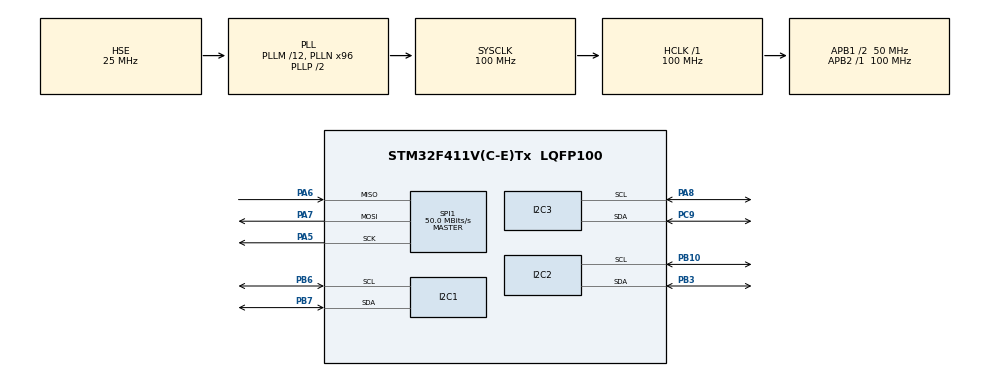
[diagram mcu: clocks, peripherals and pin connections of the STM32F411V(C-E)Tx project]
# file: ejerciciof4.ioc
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Mcu.Family=STM32F4
Mcu.Name=STM32F411V(C-E)Tx
Mcu.Package=LQFP100
NVIC.PriorityGroup=NVIC_PRIORITYGROUP_4
PA13.Mode=Serial_Wire
PA13.Signal=SYS_JTMS-SWDIO
PA14.Mode=Serial_Wire
PA14.Signal=SYS_JTCK-SWCLK
PA5.Mode=Full_Duplex_Master
PA5.Signal=SPI1_SCK
PA6.Mode=Full_Duplex_Master
PA6.Signal=SPI1_MISO
PA7.Mode=Full_Duplex_Master
PA7.Signal=SPI1_MOSI
PA8.Mode=I2C
PA8.Signal=I2C3_SCL
PB10.Mode=I2C
PB10.Signal=I2C2_SCL
PB3.Mode=I2C
PB3.Signal=I2C2_SDA
PB6.Mode=I2C
PB6.Signal=I2C1_SCL
PB7.Mode=I2C
PB7.Signal=I2C1_SDA
PC9.Mode=I2C
PC9.Signal=I2C3_SDA
PH0\ -\ OSC_IN.Mode=HSE-External-Oscillator
PH0\ -\ OSC_IN.Signal=RCC_OSC_IN
PH1\ -\ OSC_OUT.Mode=HSE-External-Oscillator
PH1\ -\ OSC_OUT.Signal=RCC_OSC_OUT
ProjectManager.HeapSize=0x200
ProjectManager.StackSize=0x400
ProjectManager.TargetToolchain=EWARM V8.50
RCC.48MHZClocksFreq_Value=50000000
RCC.AHBFreq_Value=100000000
RCC.APB1CLKDivider=RCC_HCLK_DIV2
RCC.APB1Freq_Value=50000000
RCC.APB1TimFreq_Value=100000000
RCC.APB2Freq_Value=100000000
RCC.APB2TimFreq_Value=100000000
RCC.CortexFreq_Value=100000000
RCC.HCLKFreq_Value=100000000
RCC.HSE_VALUE=25000000
RCC.HSI_VALUE=16000000
RCC.LSE_VALUE=32768
RCC.PLLM=12
RCC.PLLN=96
RCC.PLLSourceVirtual=RCC_PLLSOURCE_HSE
RCC.SYSCLKFreq_VALUE=100000000
RCC.SYSCLKSource=RCC_SYSCLKSOURCE_PLLCLK
RCC.VCOOutputFreq_Value=200000000
SPI1.BaudRatePrescaler=SPI_BAUDRATEPRESCALER_2
SPI1.CalculateBaudRate=50.0 MBits/s
SPI1.Direction=SPI_DIRECTION_2LINES
SPI1.Mode=SPI_MODE_MASTER
SPI1.VirtualType=VM_MASTER
board=custom

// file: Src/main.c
/* USER CODE BEGIN Header */
/**
  ******************************************************************************
  * @file           : main.c
  * @brief          : Main program body
  ******************************************************************************
  * @attention
  *
  * Copyright (c) 2026 STMicroelectronics.
  * All rights reserved.
  *
  * This software is licensed under terms that can be found in the LICENSE file
  * in the root directory of this software component.
  * If no LICENSE file comes with this software, it is provided AS-IS.
  *
  ******************************************************************************
  */
/* USER CODE END Header */
#include "main.h"
#include "string.h"

/* USER CODE BEGIN Includes */
#include "bmp3.h"
#include "math.h"
#include "h3lis331dl_reg.h"
#include "stm32f4xx_hal.h"
#include "lwgps.h"
#include "ism330bx_reg.h"
#include "ekfprototipo2.h"
/* USER CODE END Includes */

/* USER CODE BEGIN PTD */
extern I2C_HandleTypeDef hi2c1; //barómetro y giroscpio/IMU
extern I2C_HandleTypeDef hi2c2; //acelerómetro
extern I2C_HandleTypeDef hi2c3; //gps

/* USER CODE END PTD */

/* USER CODE BEGIN PD */
#define BMP390_I2C_ADDR (0x76 << 1)
#define H3LIS331DL_I2C_ADD (0x18 << 1)
#define RAD_TO_DEG (180.0f / 3.14159265358979323846f)
#define TESEO_I2C_ADDR      (0x3A << 1) // Dirección I2C shifted
#define RX_BUFFER_SIZE      256
#define ISM330BX_I2C_ADD ISM330BX_I2C_ADD_H
#define ALPHA 0.98f
/* USER CODE END PD */

I2C_HandleTypeDef hi2c1;
I2C_HandleTypeDef hi2c2;
I2C_HandleTypeDef hi2c3;

SPI_HandleTypeDef hspi1;

/* USER CODE BEGIN PV */
uint32_t current_time = 0;
uint32_t last_time_process = 0;

/*Barómetro*/
uint32_t intervalo_bar = 500;
uint32_t last_time_bar = 0;
struct bmp3_dev dev;
struct bmp3_data data = { 0 };
struct bmp3_settings settings = { 0 };
uint16_t settings_sel;
uint8_t dev_addr = (BMP3_ADDR_I2C_PRIM << 1);
float presion_hpa = 0.0f;
float temperatura_c = 0.0f;

/*Acelerómetro*/
uint32_t intervalo_accel = 10;
uint32_t last_time_accel = 0;
float accel_g[3];
float altitud_m = 0.0f;
float a_total = 0.0f;

/*Sensor gnss*/
uint32_t intervalo_gps = 100;
uint32_t last_time_gps = 0;
uint8_t rx_buffer[RX_BUFFER_SIZE];
uint8_t gps_rx_buffer[128];
lwgps_t hgps;
float longitud;
float latitud;
float altitud;

/*Giroscopio*/
uint32_t intervalo_imu = 10;
uint32_t last_time_imu = 0;

stmdev_ctx_t dev_ctx;
int16_t data_raw_angular_rate[3];
float angular_rate_mdps[3];
uint8_t whoamI;

//De cara al ekf
struct RawSensorData raw_sensor_data = {0};
AltitudeEstimate_t altitude_estimate = {0.0f, 0.0f};
uint8_t barometer_ready = 0;
uint8_t barometer_updated = 0;
uint8_t accelerometer_ready = 0;
uint8_t altitude_ekf_initialized = 0;

/*Resumen de datos:
GPS: longitud, latitud, altitud.
Barómetro: altitud_m.
Acelerómetro: accel_g[3], a_total.
Giroscopio: inc.pitch, inc.roll e inc.yaw.
El yaw es relativo y deriva sin una referencia magnética.

*/

/* USER CODE END PV */

void SystemClock_Config(void);
static void MX_GPIO_Init(void);
static void MX_I2C1_Init(void);
static void MX_I2C2_Init(void);
static void MX_I2C3_Init(void);
static void MX_SPI1_Init(void);

HAL_StatusTypeDef TeseoV_Read_I2C(uint8_t *pData, uint16_t Size) {
    // Transmisión/recepción del flujo continuo NMEA desde el búfer del Teseo V
    return HAL_I2C_Master_Receive(&hi2c3, TESEO_I2C_ADDR, pData, Size, 100);
}

// Función para calcular la altitud en metros
float calcular_altitud(float presion_hpa, float presion_nivel_mar_hpa) {
//1013.25f
return 44330.0f * (1.0f - powf(presion_hpa / presion_nivel_mar_hpa, 0.190295f));
}

//aceleración total:
float calcular_aceleracion_total(float ax, float ay, float az)
{
    return sqrtf((ax * ax) + (ay * ay) + (az * az));
}

//pitch roll:
typedef struct {
    float pitch;
    float roll;
    float yaw;
} Inclinacion_t;

Inclinacion_t angulos = {0.0f, 0.0f, 0.0f}; // Inicialización de la estructura de inclinación

Inclinacion_t calcular_inclinacion_fusion(float ax, float ay, float az,
                                          float gx, float gy, float gz, float dt,
                                          Inclinacion_t inc_prev)
{
    Inclinacion_t inc;

    // 1. Cálculo de Pitch y Roll estáticos por acelerómetro (en grados)
    float pitch_acc = atan2f(ax, sqrtf((ay * ay) + (az * az))) * RAD_TO_DEG;
    float roll_acc  = atan2f(ay, sqrtf((ax * ax) + (az * az))) * RAD_TO_DEG;

    // 2. Filtro Complementario (Integración del giroscopio + Acelerómetro)
    // gx, gy y gz deben estar en grados por segundo (°/s)
    inc.pitch = ALPHA * (inc_prev.pitch + gy * dt) + (1.0f - ALPHA) * pitch_acc;
    inc.roll  = ALPHA * (inc_prev.roll  + gx * dt) + (1.0f - ALPHA) * roll_acc;

    // El yaw no puede corregirse con el acelerómetro: se integra el giroscopio Z.
    inc.yaw = inc_prev.yaw + gz * dt;
    inc.yaw = fmodf(inc.yaw + 180.0f, 360.0f);
    if (inc.yaw < 0.0f) {
        inc.yaw += 360.0f;
    }
    inc.yaw -= 180.0f;

    return inc;
}

void procesar_datos_cohete(float dt)
{
  // 1. Obtener la aceleración total
  a_total = calcular_aceleracion_total(accel_g[0], accel_g[1], accel_g[2]);

  // 2. Obtener la inclinación respecto a la vertical
  angulos = calcular_inclinacion_fusion(accel_g[0], accel_g[1], accel_g[2],
                                         angular_rate_mdps[0] / 1000.0f,
                                         angular_rate_mdps[1] / 1000.0f,
                                         angular_rate_mdps[2] / 1000.0f,
                                         dt, angulos);

  raw_sensor_data.acelerometro.accel_g[0] = accel_g[0];
  raw_sensor_data.acelerometro.accel_g[1] = accel_g[1];
  raw_sensor_data.acelerometro.accel_g[2] = accel_g[2];
  raw_sensor_data.acelerometro.a_total = a_total;
  raw_sensor_data.inc.pitch = angulos.pitch;
  raw_sensor_data.inc.roll = angulos.roll;
  raw_sensor_data.inc.yaw = angulos.yaw;

  if (barometer_ready && accelerometer_ready) {
    if (!altitude_ekf_initialized) {
      if (ekfprototipo2_init(&raw_sensor_data) != 0) {
        Error_Handler();
      }
      altitude_ekf_initialized = 1;
    }

    if (ekfprototipo2_update(&raw_sensor_data, dt, barometer_updated,
                             &altitude_estimate) != 0) {
      Error_Handler();
    }
    barometer_updated = 0;
  }
}

/* USER CODE BEGIN PFP */
// Wrappers de I2C/SPI requeridos por el driver de ST
static int32_t platform_write(void *handle, uint8_t reg, const uint8_t *bufp, uint16_t len);
static int32_t platform_read(void *handle, uint8_t reg, uint8_t *bufp, uint16_t len);
/* USER CODE END PFP */

/* USER CODE BEGIN 0 */

/*Giroscopio/IMU*/
static int32_t platform_write(void *handle, uint8_t reg, const uint8_t *bufp, uint16_t len)
{
  HAL_I2C_Mem_Write((I2C_HandleTypeDef*)handle, ISM330BX_I2C_ADD, reg,
                    I2C_MEMADD_SIZE_8BIT, (uint8_t*)bufp, len, 1000);
  return 0;
}

static int32_t platform_read(void *handle, uint8_t reg, uint8_t *bufp, uint16_t len)
{
  HAL_I2C_Mem_Read((I2C_HandleTypeDef*)handle, ISM330BX_I2C_ADD, reg,
                   I2C_MEMADD_SIZE_8BIT, bufp, len, 1000);
  return 0;
}

/*Barómetro*/

/* Función adaptadora de LECTURA I2C para la librería de Bosch */
BMP3_INTF_RET_TYPE bmp3_i2c_read(uint8_t reg_addr, uint8_t *reg_data, uint32_t len, void *intf_ptr)
{
  uint8_t dev_addr = *(uint8_t*)intf_ptr;
  if (HAL_I2C_Mem_Read(&hi2c1, dev_addr, reg_addr, I2C_MEMADD_SIZE_8BIT, reg_data, len, 100) == HAL_OK)
  {
      return BMP3_OK;
  }
  return BMP3_E_COMM_FAIL;
}

/* Función adaptadora de ESCRITURA I2C para la librería de Bosch */
BMP3_INTF_RET_TYPE bmp3_i2c_write(uint8_t reg_addr, const uint8_t *reg_data, uint32_t len, void *intf_ptr)
{
  uint8_t dev_addr = *(uint8_t*)intf_ptr;
  if (HAL_I2C_Mem_Write(&hi2c1, dev_addr, reg_addr, I2C_MEMADD_SIZE_8BIT, (uint8_t*)reg_data, len, 100) == HAL_OK)
  {
      return BMP3_OK;
  }
  return BMP3_E_COMM_FAIL;
}

/* Función adaptadora de RETARDO para la librería de Bosch */
void bmp3_delay_us(uint32_t period, void *intf_ptr)
{
  // Convertimos microsegundos a milisegundos mínimos para la HAL
  uint32_t ms = period / 1000;
  if (ms == 0) ms = 1;
  HAL_Delay(ms);
}

/*Funciones rw para acelerómetro*/
int32_t stm32_i2c_write(void *handle, uint8_t reg, const uint8_t *bufr, uint16_t len) {
  HAL_I2C_Mem_Write((I2C_HandleTypeDef*)handle, H3LIS331DL_I2C_ADD, reg | 0x80, I2C_MEMADD_SIZE_8BIT, (uint8_t*)bufr, len, 1000);
  return 0;
}

int32_t stm32_i2c_read(void *handle, uint8_t reg, uint8_t *bufr, uint16_t len) {
  HAL_I2C_Mem_Read((I2C_HandleTypeDef*)handle, H3LIS331DL_I2C_ADD, reg | 0x80, I2C_MEMADD_SIZE_8BIT, bufr, len, 1000);
  return 0;
}

/* USER CODE END 0 */

int main(void)
{

  /* MCU Configuration--------------------------------------------------------*/

  /* Reset of all peripherals, Initializes the Flash interface and the Systick. */
  HAL_Init();

  /* USER CODE BEGIN Init */
  lwgps_init(&hgps);
  /* USER CODE END Init */

  /* Configure the system clock */
  SystemClock_Config();

  /* Initialize all configured peripherals */
  MX_GPIO_Init();
  MX_I2C1_Init();
  MX_I2C2_Init();
  MX_I2C3_Init();
  MX_SPI1_Init();

  /* USER CODE BEGIN 2 */
  //IMU:
  dev_ctx.write_reg = platform_write;
  dev_ctx.read_reg  = platform_read;
  dev_ctx.handle    = &hi2c1;

  ism330bx_device_id_get(&dev_ctx, &whoamI);
  if (whoamI != ISM330BX_ID) {
      // Error de comunicación con el sensor
      Error_Handler();
  }

  ism330bx_reset_set(&dev_ctx, PROPERTY_ENABLE);
  uint8_t rst;
  do {
      ism330bx_reset_get(&dev_ctx, &rst);
  } while (rst);

  ism330bx_gy_data_rate_set(&dev_ctx, ISM330BX_GY_ODR_AT_120Hz);
  ism330bx_gy_full_scale_set(&dev_ctx, ISM330BX_2000dps);

  //Barómetro:
  // 1. Asignar las funciones de interfaz a la estructura del barómetro
  dev.intf = BMP3_I2C_INTF;
  dev.read = bmp3_i2c_read;
  dev.write = bmp3_i2c_write;
  dev.delay_us = bmp3_delay_us;
  dev.intf_ptr = &dev_addr;

  //acelerómetro
  stmdev_ctx_t dev_ctx;
  dev_ctx.write_reg = stm32_i2c_write;
  dev_ctx.read_reg  = stm32_i2c_read;
  dev_ctx.handle    = &hi2c2;

  // 2. Inicializar el driver del BMP390
  int8_t rslt = bmp3_init(&dev);

  if (rslt == BMP3_OK)
  {
    // 3. Configurar el barómetro (activar presión, temperatura y modo Normal)
    settings.press_en = BMP3_ENABLE;
    settings.temp_en = BMP3_ENABLE;
    settings.odr_filter.press_os = BMP3_OVERSAMPLING_4X;
    settings.odr_filter.temp_os = BMP3_OVERSAMPLING_2X;
    settings.odr_filter.odr = BMP3_ODR_50_HZ;

    uint16_t settings_sel = BMP3_SEL_PRESS_EN | BMP3_SEL_TEMP_EN | BMP3_SEL_PRESS_OS | BMP3_SEL_TEMP_OS | BMP3_SEL_ODR;

    bmp3_set_sensor_settings(settings_sel, &settings, &dev);

    // Establecer en modo de funcionamiento continuo (Normal Mode)
    settings.op_mode = BMP3_MODE_NORMAL;
    bmp3_set_op_mode(&settings, &dev);
  }

  //WHO AM I acelerómetro
  uint8_t whoamI = 0;
    h3lis331dl_device_id_get(&dev_ctx, &whoamI);
    if (whoamI != H3LIS331DL_ID) {
        // Fallo de comunicación en I2C2
        Error_Handler();
    }

  // Configuración inicial del acelerómetro
    h3lis331dl_full_scale_set(&dev_ctx, H3LIS331DL_100g);
    h3lis331dl_data_rate_set(&dev_ctx, H3LIS331DL_ODR_100Hz);

    int16_t data_raw[3];

  /* USER CODE END 2 */

  /* Infinite loop */
  /* USER CODE BEGIN WHILE */
  while (1)
  {
    current_time = HAL_GetTick();
    if (current_time - last_time_bar >= intervalo_bar) { //bar
    last_time_bar = current_time;
    // Leer datos de presión y temperatura compensados de bar.
      int8_t rslt = bmp3_get_sensor_data(BMP3_PRESS_TEMP, &data, &dev);

      if (rslt == BMP3_OK)
      {
          presion_hpa = data.pressure / 100.0f; // Convertir Pa a hPa
          temperatura_c = data.temperature;      // Grados Celsius
          altitud_m = calcular_altitud(presion_hpa, 1013.25f);
          raw_sensor_data.barometro.altitud_m = altitud_m;
          barometer_ready = 1;
          barometer_updated = 1;
      }
    }
    if(current_time - last_time_accel >= intervalo_accel) { //acelerómetro
      last_time_accel = current_time;
      uint8_t ready = 0;
      h3lis331dl_flag_data_ready_get(&dev_ctx, &ready);
      if (ready)
      {
        int16_t data_raw[3];
        h3lis331dl_acceleration_raw_get(&dev_ctx, data_raw);
        accel_g[0] = h3lis331dl_from_fs100_to_mg(data_raw[0]) / 1000.0f;
        accel_g[1] = h3lis331dl_from_fs100_to_mg(data_raw[1]) / 1000.0f;
        accel_g[2] = h3lis331dl_from_fs100_to_mg(data_raw[2]) / 1000.0f;
        accelerometer_ready = 1;
      }
    }
    // 1. Leer bloque de bytes desde el STA8135GA (por ejemplo, vía I2C3)
    if (current_time - last_time_gps >= intervalo_gps) {
      last_time_gps = current_time;
      if (HAL_I2C_Master_Receive(&hi2c3, TESEO_I2C_ADDR, gps_rx_buffer, sizeof(gps_rx_buffer), 100) == HAL_OK) {
        // 2. Pasar los datos recibidos al analizador
        lwgps_process(&hgps, gps_rx_buffer, sizeof(gps_rx_buffer));

        // 3. Verificar si hay un fijado de posición válido (Fix)
        if (hgps.is_valid)
        {
          latitud  = hgps.latitude;
          longitud = hgps.longitude;
          altitud  = hgps.altitude;
          raw_sensor_data.gps.latitud = latitud;
          raw_sensor_data.gps.longitud = longitud;
          raw_sensor_data.gps.altitud = altitud;

          // Usar coordenadas para telemetría o registro
        }
      }
    }
    if (current_time - last_time_imu >= intervalo_imu) {
      last_time_imu = current_time;
      ism330bx_reg_t reg;
      ism330bx_status_reg_get(&dev_ctx, &reg.status_reg);
      if (reg.status_reg.gda) {
          ism330bx_angular_rate_raw_get(&dev_ctx, data_raw_angular_rate);
          angular_rate_mdps[0] = ism330bx_from_fs2000dps_to_mdps(data_raw_angular_rate[0]);
          angular_rate_mdps[1] = ism330bx_from_fs2000dps_to_mdps(data_raw_angular_rate[1]);
          angular_rate_mdps[2] = ism330bx_from_fs2000dps_to_mdps(data_raw_angular_rate[2]);
      }
    }
    if (current_time - last_time_process >= 250) { //cada 0.25 segundos
      float dt_process = (current_time - last_time_process) / 1000.0f;
      last_time_process = current_time;
      procesar_datos_cohete(dt_process);
    }
  }
  /* USER CODE END WHILE */
}

void SystemClock_Config(void)
{
  RCC_OscInitTypeDef RCC_OscInitStruct = {0};
  RCC_ClkInitTypeDef RCC_ClkInitStruct = {0};

  /** Configure the main internal regulator output voltage
  */
  __HAL_RCC_PWR_CLK_ENABLE();
  __HAL_PWR_VOLTAGESCALING_CONFIG(PWR_REGULATOR_VOLTAGE_SCALE1);

  /** Initializes the RCC Oscillators according to the specified parameters
  * in the RCC_OscInitTypeDef structure.
  */
  RCC_OscInitStruct.OscillatorType = RCC_OSCILLATORTYPE_HSE;
  RCC_OscInitStruct.HSEState = RCC_HSE_ON;
  RCC_OscInitStruct.PLL.PLLState = RCC_PLL_ON;
  RCC_OscInitStruct.PLL.PLLSource = RCC_PLLSOURCE_HSE;
  RCC_OscInitStruct.PLL.PLLM = 12;
  RCC_OscInitStruct.PLL.PLLN = 96;
  RCC_OscInitStruct.PLL.PLLP = RCC_PLLP_DIV2;
  RCC_OscInitStruct.PLL.PLLQ = 4;
  if (HAL_RCC_OscConfig(&RCC_OscInitStruct) != HAL_OK)
  {
    Error_Handler();
  }

  /** Initializes the CPU, AHB and APB buses clocks
  */
  RCC_ClkInitStruct.ClockType = RCC_CLOCKTYPE_HCLK|RCC_CLOCKTYPE_SYSCLK
                              |RCC_CLOCKTYPE_PCLK1|RCC_CLOCKTYPE_PCLK2;
  RCC_ClkInitStruct.SYSCLKSource = RCC_SYSCLKSOURCE_PLLCLK;
  RCC_ClkInitStruct.AHBCLKDivider = RCC_SYSCLK_DIV1;
  RCC_ClkInitStruct.APB1CLKDivider = RCC_HCLK_DIV2;
  RCC_ClkInitStruct.APB2CLKDivider = RCC_HCLK_DIV1;

  if (HAL_RCC_ClockConfig(&RCC_ClkInitStruct, FLASH_LATENCY_3) != HAL_OK)
  {
    Error_Handler();
  }
}

static void MX_I2C1_Init(void)
{

  hi2c1.Instance = I2C1;
  hi2c1.Init.ClockSpeed = 100000;
  hi2c1.Init.DutyCycle = I2C_DUTYCYCLE_2;
  hi2c1.Init.OwnAddress1 = 0;
  hi2c1.Init.AddressingMode = I2C_ADDRESSINGMODE_7BIT;
  hi2c1.Init.DualAddressMode = I2C_DUALADDRESS_DISABLE;
  hi2c1.Init.OwnAddress2 = 0;
  hi2c1.Init.GeneralCallMode = I2C_GENERALCALL_DISABLE;
  hi2c1.Init.NoStretchMode = I2C_NOSTRETCH_DISABLE;
  if (HAL_I2C_Init(&hi2c1) != HAL_OK)
  {
    Error_Handler();
  }

}

static void MX_I2C2_Init(void)
{

  hi2c2.Instance = I2C2;
  hi2c2.Init.ClockSpeed = 100000;
  hi2c2.Init.DutyCycle = I2C_DUTYCYCLE_2;
  hi2c2.Init.OwnAddress1 = 0;
  hi2c2.Init.AddressingMode = I2C_ADDRESSINGMODE_7BIT;
  hi2c2.Init.DualAddressMode = I2C_DUALADDRESS_DISABLE;
  hi2c2.Init.OwnAddress2 = 0;
  hi2c2.Init.GeneralCallMode = I2C_GENERALCALL_DISABLE;
  hi2c2.Init.NoStretchMode = I2C_NOSTRETCH_DISABLE;
  if (HAL_I2C_Init(&hi2c2) != HAL_OK)
  {
    Error_Handler();
  }

}

static void MX_I2C3_Init(void)
{

  hi2c3.Instance = I2C3;
  hi2c3.Init.ClockSpeed = 100000;
  hi2c3.Init.DutyCycle = I2C_DUTYCYCLE_2;
  hi2c3.Init.OwnAddress1 = 0;
  hi2c3.Init.AddressingMode = I2C_ADDRESSINGMODE_7BIT;
  hi2c3.Init.DualAddressMode = I2C_DUALADDRESS_DISABLE;
  hi2c3.Init.OwnAddress2 = 0;
  hi2c3.Init.GeneralCallMode = I2C_GENERALCALL_DISABLE;
  hi2c3.Init.NoStretchMode = I2C_NOSTRETCH_DISABLE;
  if (HAL_I2C_Init(&hi2c3) != HAL_OK)
  {
    Error_Handler();
  }

}

static void MX_SPI1_Init(void)
{

  /* SPI1 parameter configuration*/
  hspi1.Instance = SPI1;
  hspi1.Init.Mode = SPI_MODE_MASTER;
  hspi1.Init.Direction = SPI_DIRECTION_2LINES;
  hspi1.Init.DataSize = SPI_DATASIZE_8BIT;
  hspi1.Init.CLKPolarity = SPI_POLARITY_LOW;
  hspi1.Init.CLKPhase = SPI_PHASE_1EDGE;
  hspi1.Init.NSS = SPI_NSS_SOFT;
  hspi1.Init.BaudRatePrescaler = SPI_BAUDRATEPRESCALER_2;
  hspi1.Init.FirstBit = SPI_FIRSTBIT_MSB;
  hspi1.Init.TIMode = SPI_TIMODE_DISABLE;
  hspi1.Init.CRCCalculation = SPI_CRCCALCULATION_DISABLE;
  hspi1.Init.CRCPolynomial = 10;
  if (HAL_SPI_Init(&hspi1) != HAL_OK)
  {
    Error_Handler();
  }

}

static void MX_GPIO_Init(void)
{

  /* GPIO Ports Clock Enable */
  __HAL_RCC_GPIOH_CLK_ENABLE();
  __HAL_RCC_GPIOA_CLK_ENABLE();
  __HAL_RCC_GPIOB_CLK_ENABLE();
  __HAL_RCC_GPIOC_CLK_ENABLE();

}

void Error_Handler(void)
{
  __disable_irq();
  while (1)
  {
  }
}
